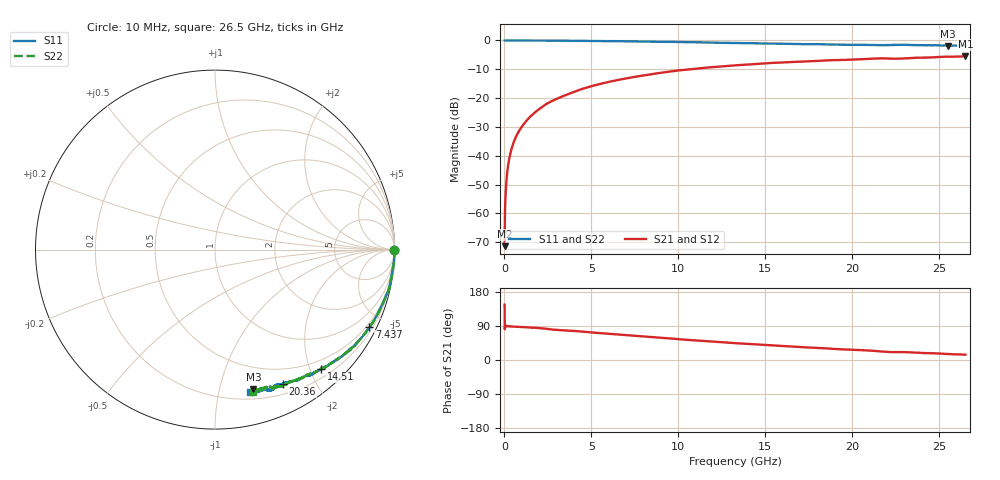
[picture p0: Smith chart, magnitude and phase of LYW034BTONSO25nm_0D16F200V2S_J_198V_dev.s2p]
!Keysight Technologies,N5222B,MY61253708,A.15.00.15
!Date: Wednesday, June 19, 2024 10:42:11
!Correction: S11(C  2-Port  )
!S21(C  2-Port  )
!S12(C  2-Port  )
!S22(C  2-Port  )
!S2P File: Measurements: S11, S21, S12, S22:
# Hz S  RI  R 50
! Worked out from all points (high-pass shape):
!   2651 points, 10 MHz to 26.5 GHz, reference 50 ohm
!   highest |S21| = -5.47 dB at 26.5 GHz (marker M1); lowest = -71.4 dB at 10 MHz (marker M2)
!   |S21| within 3 dB of the highest: 13.64319 GHz to 13.65299 GHz (9.794 MHz wide, 0.0718 % of centre); 13.7 GHz to end of sweep
!   lowest |S11| = -1.9 dB at 25.5 GHz (marker M3), VSWR 9.37, Z = 14.3 - j63.6 ohm
!   |S11| at or under -10 dB: nowhere
!   |S22| runs from -1.8 to 0.0 dB; largest |S21 - S12| = 0.0069
!   S11 on the Smith chart (normalised r, x): 10 MHz: open; 7.437 GHz: 0.35, -4.18; 14.51 GHz: 0.34, -2.18; 20.36 GHz: 0.31, -1.58; 26.5 GHz: 0.26, -1.24
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1e7  0.9984 -0.0034  -0.000224 0.00015  -8.61e-05 -4.2e-05  0.9985 -0.0016
7.997358e7  0.9999 -0.0057  1.26e-05 0.00257  2.47e-05 0.00256  0.9994 -0.00509
1.499472e8  1 -0.0107  4.75e-05 0.00485  2.17e-05 0.00485  0.9997 -0.00988
2.199208e8  0.9999 -0.0146  9.72e-05 0.0071  0.000104 0.00712  0.9995 -0.0137
3.098868e8  0.9996 -0.0205  0.000226 0.00997  0.000229 0.01  0.9995 -0.0193
4.298415e8  0.9992 -0.0284  0.000394 0.0138  0.000369 0.0139  0.9996 -0.0275
5.797849e8  0.9983 -0.0378  0.000659 0.0187  0.000673 0.0187  0.9987 -0.0362
7.59717e8  0.9982 -0.0494  0.00119 0.0244  0.00119 0.0244  0.9987 -0.0484
1.049608e9  0.9975 -0.0693  0.00205 0.0334  0.00207 0.0335  0.9961 -0.0668
1.389479e9  0.9919 -0.0931  0.00297 0.0443  0.00304 0.0444  0.9938 -0.0878
2.249155e9  0.9837 -0.1443  0.0085 0.0729  0.00861 0.073  0.9853 -0.1437
3.128823e9  0.9734 -0.1986  0.019 0.099  0.0191 0.0992  0.9743 -0.1961
4.428332e9  0.9452 -0.2753  0.0364 0.1381  0.0366 0.1385  0.9474 -0.2714
7.437196e9  0.8606 -0.433  0.1017 0.2084  0.1025 0.2085  0.8632 -0.4293
8.846664e9  0.8111 -0.496  0.1392 0.2329  0.1401 0.233  0.8137 -0.4924
1.3255e10  0.6393 -0.6384  0.2634 0.2595  0.2651 0.2589  0.6454 -0.635
1.451452e10  0.5924 -0.6666  0.2951 0.2571  0.2967 0.256  0.5979 -0.6604
1.767333e10  0.4694 -0.7215  0.369 0.2349  0.3718 0.2332  0.4827 -0.7169
2.036232e10  0.3783 -0.7489  0.4219 0.2084  0.4243 0.2062  0.3975 -0.7476
2.209166e10  0.3343 -0.758  0.453 0.1756  0.4541 0.173  0.3318 -0.7628
2.550038e10  0.2143 -0.7781  0.5032 0.1404  0.5043 0.1403  0.2385 -0.7798
2.65e10  0.1949 -0.7932  0.5169 0.1297  0.5159 0.1258  0.212 -0.7907
